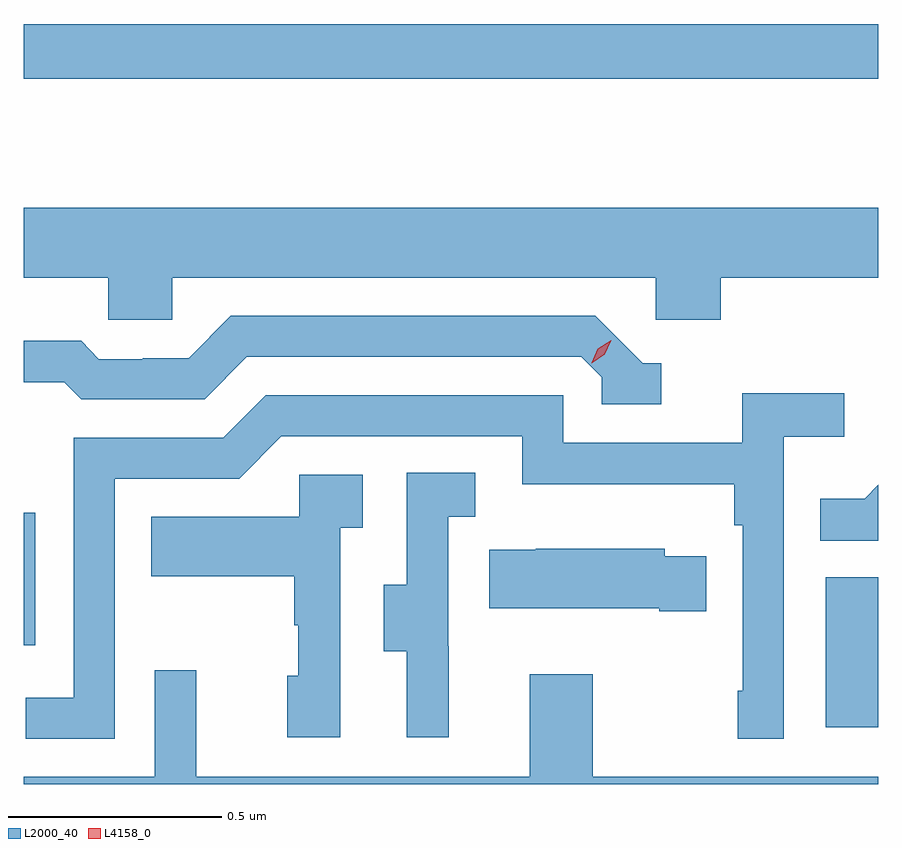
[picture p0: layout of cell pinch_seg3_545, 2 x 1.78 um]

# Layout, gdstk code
import gdstk
lib = gdstk.Library(unit=1e-6, precision=1e-09)
def R(c, l, rs):  # rectangles x0, y0, x1, y1
    for r in rs: c.add(gdstk.rectangle(r[:2], r[2:], *l))
def P(c, l, *ps):  # polygons
    for p in ps: c.add(gdstk.Polygon(p, *l))
L2000_40 = (2000, 40)
L4158_0 = (4158, 0)

pinch_seg3_545 = lib.new_cell('pinch_seg3_545')
R(pinch_seg3_545, L2000_40, [(1121.498,697.2,1121.621,697.551), (1119.621,697.392,1119.648,697.702), (1119.621,698.718,1121.621,698.846)])
P(pinch_seg3_545, L2000_40, [(1119.969,698.252),(1121.1,698.252),(1121.1,698.154),(1121.252,698.154),(1121.252,698.252),(1121.621,698.252),(1121.621,698.416),(1119.621,698.416),(1119.621,698.252),(1119.819,698.252),(1119.819,698.154),(1119.969,698.154)],
  [(1121.113,698.052),(1121.07,698.052),(1120.959,698.163),(1120.106,698.163),(1120.007,698.064),(1119.9,698.064),(1119.9,698.061),(1119.797,698.061),(1119.755,698.104),(1119.621,698.104),(1119.621,698.007),(1119.716,698.007),(1119.755,697.968),(1120.044,697.968),(1120.143,698.067),(1120.926,698.067),(1120.974,698.019),(1120.974,697.956),(1121.113,697.956)],
  [(1119.834,697.782),(1120.125,697.782),(1120.224,697.881),(1120.788,697.881),(1120.788,697.769),(1121.284,697.769),(1121.284,697.673),(1121.304,697.673),(1121.304,697.285),(1121.292,697.285),(1121.292,697.173),(1121.4,697.173),(1121.4,697.88),(1121.542,697.88),(1121.542,697.982),(1121.303,697.982),(1121.303,697.866),(1120.884,697.866),(1120.884,697.977),(1120.187,697.977),(1120.088,697.878),(1119.738,697.878),(1119.738,697.269),(1119.625,697.269),(1119.625,697.173),(1119.834,697.173)],
  [(1120.616,697.389),(1120.614,697.389),(1120.614,697.693),(1120.678,697.693),(1120.678,697.796),(1120.518,697.796),(1120.518,697.533),(1120.463,697.533),(1120.463,697.378),(1120.517,697.378),(1120.517,697.176),(1120.616,697.176)],
  [(1120.362,697.667),(1120.414,697.667),(1120.414,697.791),(1120.266,697.791),(1120.266,697.693),(1119.919,697.693),(1119.919,697.553),(1120.254,697.553),(1120.254,697.439),(1120.264,697.439),(1120.264,697.32),(1120.238,697.32),(1120.238,697.176),(1120.362,697.176)],
  [(1121.621,697.767),(1121.589,697.735),(1121.485,697.735),(1121.485,697.636),(1121.621,697.636)],
  [(1121.219,697.6),(1121.121,697.6),(1121.121,697.618),(1120.819,697.618),(1120.819,697.615),(1120.711,697.615),(1120.711,697.478),(1121.108,697.478),(1121.108,697.471),(1121.219,697.471)],
  [(1121.621,697.084),(1120.953,697.084),(1120.953,697.324),(1120.805,697.324),(1120.805,697.084),(1120.025,697.084),(1120.025,697.333),(1119.927,697.333),(1119.927,697.084),(1119.621,697.084),(1119.621,697.067),(1121.621,697.067)])
P(pinch_seg3_545, L4158_0, [(1120.95,698.052),(1120.95,698.053),(1120.965,698.086),(1120.996,698.106),(1120.996,698.106),(1120.996,698.106),(1120.981,698.073),(1120.951,698.052)])

lib.write_gds('pinch_seg3_545.gds')
